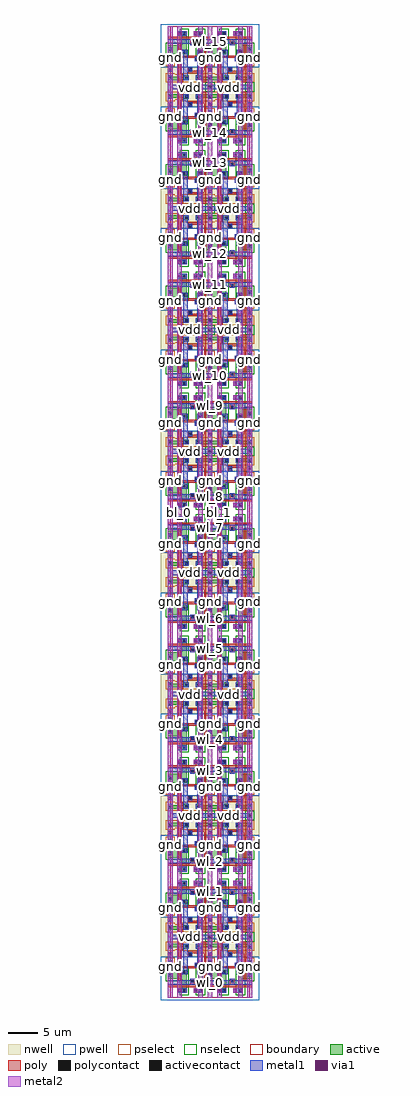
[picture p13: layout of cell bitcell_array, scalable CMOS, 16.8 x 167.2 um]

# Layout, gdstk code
import gdstk
lib = gdstk.Library(unit=1e-6, precision=1e-09)
def R(c, l, rs):  # rectangles x0, y0, x1, y1
    for r in rs: c.add(gdstk.rectangle(r[:2], r[2:], *l))
def A(c, l, x, y, w, h, nx, ny, dx, dy):  # array of equal rectangles
    R(c, l, [(x+i*dx, y+j*dy, x+i*dx+w, y+j*dy+h) for i in range(nx) for j in range(ny)])
pwell = (41, 0)
nwell = (42, 0)
active = (43, 0)
pselect = (44, 0)
nselect = (45, 0)
poly = (46, 0)
polycontact = (47, 0)
activecontact = (48, 0)
metal1 = (49, 0)
via1 = (50, 0)
metal2 = (51, 0)
boundary = (63, 0)

cell_6t = lib.new_cell('cell_6t')
R(cell_6t, pwell, [(-1.6,-0.4,8.4,7)])
R(cell_6t, nwell, [(-1.6,7,8.4,11.4)])
A(cell_6t, active, 2.4, 8.4, 0.8, 0.2, 3, 1, 2, 0)
R(cell_6t, active, [(2,0.8,2.8,3.2), (4.8,0.8,5.6,3.2), (-0.4,3.2,2.8,4.8), (4.8,3.2,7.2,4.8), (-0.4,5.6,0.4,6.4), (6.4,5.6,7.2,6.4), (-0.4,8.4,0.4,8.6), (-0.4,8.6,3.2,9.2), (4.4,8.6,7.2,9.2), (6.4,10,7.2,10.8)])
R(cell_6t, pselect, [(-0.8,5.2,0.8,6.8), (6,5.2,7.6,6.8), (-0.8,8,0.8,8.2), (2,8,7.6,8.2), (-0.8,8.2,7.6,9.6)])
R(cell_6t, nselect, [(1.6,0.4,3.2,2.8), (4.4,0.4,6,2.8), (-0.8,2.8,3.2,5.2), (4.4,2.8,7.6,5.2), (6,9.6,7.6,11.2)])
R(cell_6t, poly, [(-0.4,1.8,7.2,2.2), (3.4,2.2,4.2,3.2), (1.4,2.8,1.8,5), (5.8,2.8,6.2,7.6), (1.4,5,4.8,5.2), (1.4,5.2,5,5.4), (1.4,5.4,1.8,8.2), (4.2,5.4,5,6), (3,7,3.8,7.6), (3,7.6,6.2,8), (5.4,8,6.2,9.6), (1.4,8.2,2.2,9.6)])
R(cell_6t, polycontact, [(3.6,2.6,4,3), (4.4,5.4,4.8,5.8), (3.2,7.2,3.6,7.6)])
A(cell_6t, activecontact, 2.6, 8.6, 0.4, 0.4, 3, 1, 2, 0)
R(cell_6t, activecontact, [(2.2,1,2.6,1.4), (5,1,5.4,1.4), (-0.2,3.8,0.2,4.2), (6.6,3.8,7,4.2), (2.2,4.2,2.6,4.6), (5,4.2,5.4,4.6), (-0.2,5.8,0.2,6.2), (6.6,5.8,7,6.2), (-0.2,8.6,0.2,9), (6.6,10.2,7,10.6)])
R(cell_6t, metal1, [(1.2,0.8,2.8,1.6), (4,0.8,5.6,1.6), (-0.4,2.2,7.2,3), (-0.4,2.2,7.2,3), (3.4,3,4.2,3.2), (-0.4,3.6,0.4,7.8), (6.4,3.6,7.2,7.8), (2,4,3,4.8), (4.6,4,5.6,4.8), (2.2,4.8,3,7), (4.6,4.8,5.4,5.2), (4.2,5.2,5.4,6), (4.6,6,5.4,8.4), (2.2,7,3.8,7.8), (2.2,7.8,3,8.4), (-0.4,8.4,0.4,10), (2.2,8.4,3.2,9.2), (4.4,8.4,5.4,9.2), (6.4,8.4,7.2,10), (-0.4,10,7.2,10.8)])
R(cell_6t, via1, [(1.4,1,1.8,1.4), (4.2,1,4.6,1.4), (-0.2,7.2,0.2,7.6), (6.6,7.2,7,7.6), (3.2,10.2,3.6,10.6)])
R(cell_6t, metal2, [(-0.4,0,0.4,10.8), (-0.4,0,0.4,10.8), (1.2,0,2,10.8), (1.2,0,2,10.8), (4.8,0,5.6,0.8), (6.4,0,7.2,10.8), (6.4,0,7.2,10.8), (4,0.8,5.6,1.6), (4.8,1.6,5.6,10.8), (4.8,1.6,5.6,10.8), (3,10,3.8,10.8), (3,10,3.8,10.8)])
R(cell_6t, boundary, [(0,0,6.8,10.4)])
cell_6t.add(gdstk.Label('gnd', (0,1.2), layer=51, texttype=0))
cell_6t.add(gdstk.Label('gnd', (6.8,1.2), layer=51, texttype=0))
cell_6t.add(gdstk.Label('vdd', (3.4,10.4), layer=51, texttype=0))
cell_6t.add(gdstk.Label('bl', (1.6,9.8), layer=51, texttype=0))
cell_6t.add(gdstk.Label('br', (5.2,9.8), layer=51, texttype=0))
cell_6t.add(gdstk.Label('wl', (0.8,2.6), layer=49, texttype=0))
cell_6t.add(gdstk.Label('Q', (3.4,7.4), layer=49, texttype=0))
cell_6t.add(gdstk.Label('Q_bar', (4.6,5.6), layer=49, texttype=0))
cell_6t.add(gdstk.Label('bl', (1.6,5.4), layer=51, texttype=0))
cell_6t.add(gdstk.Label('br', (5.2,6.2), layer=51, texttype=0))
cell_6t.add(gdstk.Label('wl', (3.4,2.6), layer=49, texttype=0))
cell_6t.add(gdstk.Label('vdd', (3.4,10.4), layer=51, texttype=0))
cell_6t.add(gdstk.Label('gnd', (0,5.4), layer=51, texttype=0))
cell_6t.add(gdstk.Label('gnd', (6.8,5.4), layer=51, texttype=0))

bitcell_array = lib.new_cell('bitcell_array')
R(bitcell_array, metal1, [(0,2.2,13.6,3), (0,17.8,13.6,18.6), (0,23,13.6,23.8), (0,38.6,13.6,39.4), (0,43.8,13.6,44.6), (0,59.4,13.6,60.2), (0,64.6,13.6,65.4), (0,80.2,13.6,81), (0,85.4,13.6,86.2), (0,101,13.6,101.8), (0,106.2,13.6,107), (0,121.8,13.6,122.6), (0,127,13.6,127.8), (0,142.6,13.6,143.4), (0,147.8,13.6,148.6), (0,163.4,13.6,164.2)])
A(bitcell_array, metal2, 3, 10, 0.8, 0.8, 1, 3, 0, 20.8)
A(bitcell_array, metal2, 9.8, 10, 0.8, 0.8, 1, 3, 0, 20.8)
A(bitcell_array, metal2, 3, 51.6, 0.8, 0.8, 1, 4, 0, 20.8)
A(bitcell_array, metal2, 9.8, 51.6, 0.8, 0.8, 1, 4, 0, 20.8)
R(bitcell_array, metal2, [(-0.4,0,0.4,10.8), (1.2,0,2,166.4), (4.8,0,5.6,166.4), (6.4,0,7.2,10.8), (6.4,0,7.2,10.8), (8,0,8.8,166.4), (11.6,0,12.4,166.4), (13.2,0,14,10.8), (-0.4,10,0.4,20.8), (6.4,10,7.2,20.8), (6.4,10,7.2,20.8), (13.2,10,14,20.8), (-0.4,20.8,0.4,31.6), (6.4,20.8,7.2,31.6), (6.4,20.8,7.2,31.6), (13.2,20.8,14,31.6), (-0.4,30.8,0.4,41.6), (6.4,30.8,7.2,41.6), (6.4,30.8,7.2,41.6), (13.2,30.8,14,41.6), (-0.4,41.6,0.4,52.4), (6.4,41.6,7.2,52.4), (6.4,41.6,7.2,52.4), (13.2,41.6,14,52.4), (-0.4,51.6,0.4,62.4), (6.4,51.6,7.2,62.4), (6.4,51.6,7.2,62.4), (13.2,51.6,14,62.4), (-0.4,62.4,0.4,73.2), (6.4,62.4,7.2,73.2), (6.4,62.4,7.2,73.2), (13.2,62.4,14,73.2), (-0.4,72.4,0.4,83.2), (6.4,72.4,7.2,83.2), (6.4,72.4,7.2,83.2), (13.2,72.4,14,83.2), (-0.4,83.2,0.4,94), (6.4,83.2,7.2,94), (6.4,83.2,7.2,94), (13.2,83.2,14,94), (-0.4,93.2,0.4,104), (6.4,93.2,7.2,104), (6.4,93.2,7.2,104), (13.2,93.2,14,104), (-0.4,104,0.4,114.8), (6.4,104,7.2,114.8), (6.4,104,7.2,114.8), (13.2,104,14,114.8), (-0.4,114,0.4,124.8), (3,114,3.8,114.8), (6.4,114,7.2,124.8), (6.4,114,7.2,124.8), (9.8,114,10.6,114.8), (13.2,114,14,124.8), (-0.4,124.8,0.4,135.6), (6.4,124.8,7.2,135.6), (6.4,124.8,7.2,135.6), (13.2,124.8,14,135.6), (-0.4,134.8,0.4,145.6), (3,134.8,3.8,135.6), (3,134.8,3.8,135.6), (6.4,134.8,7.2,145.6), (6.4,134.8,7.2,145.6), (9.8,134.8,10.6,135.6), (9.8,134.8,10.6,135.6), (13.2,134.8,14,145.6), (-0.4,145.6,0.4,156.4), (6.4,145.6,7.2,156.4), (6.4,145.6,7.2,156.4), (13.2,145.6,14,156.4), (-0.4,155.6,0.4,166.4), (3,155.6,3.8,156.4), (6.4,155.6,7.2,166.4), (6.4,155.6,7.2,166.4), (9.8,155.6,10.6,156.4), (13.2,155.6,14,166.4)])
R(bitcell_array, boundary, [(0,0,13.6,166.4)])
bitcell_array.add(gdstk.Reference(cell_6t, (0,0)))
bitcell_array.add(gdstk.Reference(cell_6t, (0,20.8), x_reflection=True))
bitcell_array.add(gdstk.Reference(cell_6t, (0,20.8)))
bitcell_array.add(gdstk.Reference(cell_6t, (0,41.6), x_reflection=True))
bitcell_array.add(gdstk.Reference(cell_6t, (0,41.6)))
bitcell_array.add(gdstk.Reference(cell_6t, (0,62.4), x_reflection=True))
bitcell_array.add(gdstk.Reference(cell_6t, (0,62.4)))
bitcell_array.add(gdstk.Reference(cell_6t, (0,83.2), x_reflection=True))
bitcell_array.add(gdstk.Reference(cell_6t, (0,83.2)))
bitcell_array.add(gdstk.Reference(cell_6t, (0,104), x_reflection=True))
bitcell_array.add(gdstk.Reference(cell_6t, (0,104)))
bitcell_array.add(gdstk.Reference(cell_6t, (0,124.8), x_reflection=True))
bitcell_array.add(gdstk.Reference(cell_6t, (0,124.8)))
bitcell_array.add(gdstk.Reference(cell_6t, (0,145.6), x_reflection=True))
bitcell_array.add(gdstk.Reference(cell_6t, (0,145.6)))
bitcell_array.add(gdstk.Reference(cell_6t, (0,166.4), x_reflection=True))
bitcell_array.add(gdstk.Reference(cell_6t, (6.8,0)))
bitcell_array.add(gdstk.Reference(cell_6t, (6.8,20.8), x_reflection=True))
bitcell_array.add(gdstk.Reference(cell_6t, (6.8,20.8)))
bitcell_array.add(gdstk.Reference(cell_6t, (6.8,41.6), x_reflection=True))
bitcell_array.add(gdstk.Reference(cell_6t, (6.8,41.6)))
bitcell_array.add(gdstk.Reference(cell_6t, (6.8,62.4), x_reflection=True))
bitcell_array.add(gdstk.Reference(cell_6t, (6.8,62.4)))
bitcell_array.add(gdstk.Reference(cell_6t, (6.8,83.2), x_reflection=True))
bitcell_array.add(gdstk.Reference(cell_6t, (6.8,83.2)))
bitcell_array.add(gdstk.Reference(cell_6t, (6.8,104), x_reflection=True))
bitcell_array.add(gdstk.Reference(cell_6t, (6.8,104)))
bitcell_array.add(gdstk.Reference(cell_6t, (6.8,124.8), x_reflection=True))
bitcell_array.add(gdstk.Reference(cell_6t, (6.8,124.8)))
bitcell_array.add(gdstk.Reference(cell_6t, (6.8,145.6), x_reflection=True))
bitcell_array.add(gdstk.Reference(cell_6t, (6.8,145.6)))
bitcell_array.add(gdstk.Reference(cell_6t, (6.8,166.4), x_reflection=True))
bitcell_array.add(gdstk.Label('bl_0', (1.6,83.2), layer=51, texttype=0))
bitcell_array.add(gdstk.Label('br_0', (5.2,83.2), layer=51, texttype=0))
bitcell_array.add(gdstk.Label('bl_1', (8.4,83.2), layer=51, texttype=0))
bitcell_array.add(gdstk.Label('br_1', (12,83.2), layer=51, texttype=0))
bitcell_array.add(gdstk.Label('wl_0', (6.8,2.6), layer=49, texttype=0))
bitcell_array.add(gdstk.Label('wl_1', (6.8,18.2), layer=49, texttype=0))
bitcell_array.add(gdstk.Label('wl_2', (6.8,23.4), layer=49, texttype=0))
bitcell_array.add(gdstk.Label('wl_3', (6.8,39), layer=49, texttype=0))
bitcell_array.add(gdstk.Label('wl_4', (6.8,44.2), layer=49, texttype=0))
bitcell_array.add(gdstk.Label('wl_5', (6.8,59.8), layer=49, texttype=0))
bitcell_array.add(gdstk.Label('wl_6', (6.8,65), layer=49, texttype=0))
bitcell_array.add(gdstk.Label('wl_7', (6.8,80.6), layer=49, texttype=0))
bitcell_array.add(gdstk.Label('wl_8', (6.8,85.8), layer=49, texttype=0))
bitcell_array.add(gdstk.Label('wl_9', (6.8,101.4), layer=49, texttype=0))
bitcell_array.add(gdstk.Label('wl_10', (6.8,106.6), layer=49, texttype=0))
bitcell_array.add(gdstk.Label('wl_11', (6.8,122.2), layer=49, texttype=0))
bitcell_array.add(gdstk.Label('wl_12', (6.8,127.4), layer=49, texttype=0))
bitcell_array.add(gdstk.Label('wl_13', (6.8,143), layer=49, texttype=0))
bitcell_array.add(gdstk.Label('wl_14', (6.8,148.2), layer=49, texttype=0))
bitcell_array.add(gdstk.Label('wl_15', (6.8,163.8), layer=49, texttype=0))
bitcell_array.add(gdstk.Label('vdd', (3.4,135.2), layer=51, texttype=0))
bitcell_array.add(gdstk.Label('vdd', (3.4,135.2), layer=51, texttype=0))
bitcell_array.add(gdstk.Label('vdd', (3.4,156), layer=51, texttype=0))
bitcell_array.add(gdstk.Label('vdd', (3.4,72.8), layer=51, texttype=0))
bitcell_array.add(gdstk.Label('vdd', (10.2,10.4), layer=51, texttype=0))
bitcell_array.add(gdstk.Label('vdd', (10.2,114.4), layer=51, texttype=0))
bitcell_array.add(gdstk.Label('vdd', (10.2,114.4), layer=51, texttype=0))
bitcell_array.add(gdstk.Label('vdd', (10.2,156), layer=51, texttype=0))
bitcell_array.add(gdstk.Label('vdd', (10.2,52), layer=51, texttype=0))
bitcell_array.add(gdstk.Label('vdd', (3.4,114.4), layer=51, texttype=0))
bitcell_array.add(gdstk.Label('vdd', (10.2,52), layer=51, texttype=0))
bitcell_array.add(gdstk.Label('vdd', (3.4,114.4), layer=51, texttype=0))
bitcell_array.add(gdstk.Label('vdd', (3.4,10.4), layer=51, texttype=0))
bitcell_array.add(gdstk.Label('vdd', (3.4,52), layer=51, texttype=0))
bitcell_array.add(gdstk.Label('vdd', (10.2,31.2), layer=51, texttype=0))
bitcell_array.add(gdstk.Label('vdd', (3.4,93.6), layer=51, texttype=0))
bitcell_array.add(gdstk.Label('vdd', (10.2,72.8), layer=51, texttype=0))
bitcell_array.add(gdstk.Label('vdd', (10.2,135.2), layer=51, texttype=0))
bitcell_array.add(gdstk.Label('vdd', (10.2,135.2), layer=51, texttype=0))
bitcell_array.add(gdstk.Label('vdd', (3.4,31.2), layer=51, texttype=0))
bitcell_array.add(gdstk.Label('vdd', (10.2,93.6), layer=51, texttype=0))
bitcell_array.add(gdstk.Label('vdd', (3.4,52), layer=51, texttype=0))
bitcell_array.add(gdstk.Label('gnd', (13.6,26.2), layer=51, texttype=0))
bitcell_array.add(gdstk.Label('gnd', (13.6,98.6), layer=51, texttype=0))
bitcell_array.add(gdstk.Label('gnd', (6.8,109.4), layer=51, texttype=0))
bitcell_array.add(gdstk.Label('gnd', (13.6,161), layer=51, texttype=0))
bitcell_array.add(gdstk.Label('gnd', (13.6,140.2), layer=51, texttype=0))
bitcell_array.add(gdstk.Label('gnd', (13.6,77.8), layer=51, texttype=0))
bitcell_array.add(gdstk.Label('gnd', (0,77.8), layer=51, texttype=0))
bitcell_array.add(gdstk.Label('gnd', (0,15.4), layer=51, texttype=0))
bitcell_array.add(gdstk.Label('gnd', (0,47), layer=51, texttype=0))
bitcell_array.add(gdstk.Label('gnd', (6.8,57), layer=51, texttype=0))
bitcell_array.add(gdstk.Label('gnd', (6.8,57), layer=51, texttype=0))
bitcell_array.add(gdstk.Label('gnd', (13.6,47), layer=51, texttype=0))
bitcell_array.add(gdstk.Label('gnd', (13.6,5.4), layer=51, texttype=0))
bitcell_array.add(gdstk.Label('gnd', (0,88.6), layer=51, texttype=0))
bitcell_array.add(gdstk.Label('gnd', (0,57), layer=51, texttype=0))
bitcell_array.add(gdstk.Label('gnd', (0,109.4), layer=51, texttype=0))
bitcell_array.add(gdstk.Label('gnd', (13.6,130.2), layer=51, texttype=0))
bitcell_array.add(gdstk.Label('gnd', (0,161), layer=51, texttype=0))
bitcell_array.add(gdstk.Label('gnd', (6.8,119.4), layer=51, texttype=0))
bitcell_array.add(gdstk.Label('gnd', (0,67.8), layer=51, texttype=0))
bitcell_array.add(gdstk.Label('gnd', (0,36.2), layer=51, texttype=0))
bitcell_array.add(gdstk.Label('gnd', (6.8,161), layer=51, texttype=0))
bitcell_array.add(gdstk.Label('gnd', (6.8,5.4), layer=51, texttype=0))
bitcell_array.add(gdstk.Label('gnd', (6.8,5.4), layer=51, texttype=0))
bitcell_array.add(gdstk.Label('gnd', (13.6,109.4), layer=51, texttype=0))
bitcell_array.add(gdstk.Label('gnd', (6.8,161), layer=51, texttype=0))
bitcell_array.add(gdstk.Label('gnd', (0,98.6), layer=51, texttype=0))
bitcell_array.add(gdstk.Label('gnd', (6.8,26.2), layer=51, texttype=0))
bitcell_array.add(gdstk.Label('gnd', (6.8,26.2), layer=51, texttype=0))
bitcell_array.add(gdstk.Label('gnd', (13.6,151), layer=51, texttype=0))
bitcell_array.add(gdstk.Label('gnd', (13.6,36.2), layer=51, texttype=0))
bitcell_array.add(gdstk.Label('gnd', (0,5.4), layer=51, texttype=0))
bitcell_array.add(gdstk.Label('gnd', (6.8,47), layer=51, texttype=0))
bitcell_array.add(gdstk.Label('gnd', (6.8,47), layer=51, texttype=0))
bitcell_array.add(gdstk.Label('gnd', (6.8,77.8), layer=51, texttype=0))
bitcell_array.add(gdstk.Label('gnd', (6.8,77.8), layer=51, texttype=0))
bitcell_array.add(gdstk.Label('gnd', (13.6,57), layer=51, texttype=0))
bitcell_array.add(gdstk.Label('gnd', (6.8,151), layer=51, texttype=0))
bitcell_array.add(gdstk.Label('gnd', (6.8,151), layer=51, texttype=0))
bitcell_array.add(gdstk.Label('gnd', (0,130.2), layer=51, texttype=0))
bitcell_array.add(gdstk.Label('gnd', (6.8,36.2), layer=51, texttype=0))
bitcell_array.add(gdstk.Label('gnd', (6.8,36.2), layer=51, texttype=0))
bitcell_array.add(gdstk.Label('gnd', (13.6,67.8), layer=51, texttype=0))
bitcell_array.add(gdstk.Label('gnd', (6.8,15.4), layer=51, texttype=0))
bitcell_array.add(gdstk.Label('gnd', (6.8,15.4), layer=51, texttype=0))
bitcell_array.add(gdstk.Label('gnd', (6.8,88.6), layer=51, texttype=0))
bitcell_array.add(gdstk.Label('gnd', (6.8,88.6), layer=51, texttype=0))
bitcell_array.add(gdstk.Label('gnd', (13.6,119.4), layer=51, texttype=0))
bitcell_array.add(gdstk.Label('gnd', (6.8,67.8), layer=51, texttype=0))
bitcell_array.add(gdstk.Label('gnd', (6.8,67.8), layer=51, texttype=0))
bitcell_array.add(gdstk.Label('gnd', (13.6,88.6), layer=51, texttype=0))
bitcell_array.add(gdstk.Label('gnd', (0,140.2), layer=51, texttype=0))
bitcell_array.add(gdstk.Label('gnd', (0,26.2), layer=51, texttype=0))
bitcell_array.add(gdstk.Label('gnd', (6.8,98.6), layer=51, texttype=0))
bitcell_array.add(gdstk.Label('gnd', (6.8,98.6), layer=51, texttype=0))
bitcell_array.add(gdstk.Label('gnd', (13.6,15.4), layer=51, texttype=0))
bitcell_array.add(gdstk.Label('gnd', (0,119.4), layer=51, texttype=0))
bitcell_array.add(gdstk.Label('gnd', (6.8,130.2), layer=51, texttype=0))
bitcell_array.add(gdstk.Label('gnd', (6.8,130.2), layer=51, texttype=0))
bitcell_array.add(gdstk.Label('gnd', (6.8,140.2), layer=51, texttype=0))
bitcell_array.add(gdstk.Label('gnd', (6.8,140.2), layer=51, texttype=0))
bitcell_array.add(gdstk.Label('gnd', (6.8,109.4), layer=51, texttype=0))
bitcell_array.add(gdstk.Label('gnd', (0,151), layer=51, texttype=0))
bitcell_array.add(gdstk.Label('gnd', (6.8,119.4), layer=51, texttype=0))

lib.write_gds('bitcell_array.gds')
